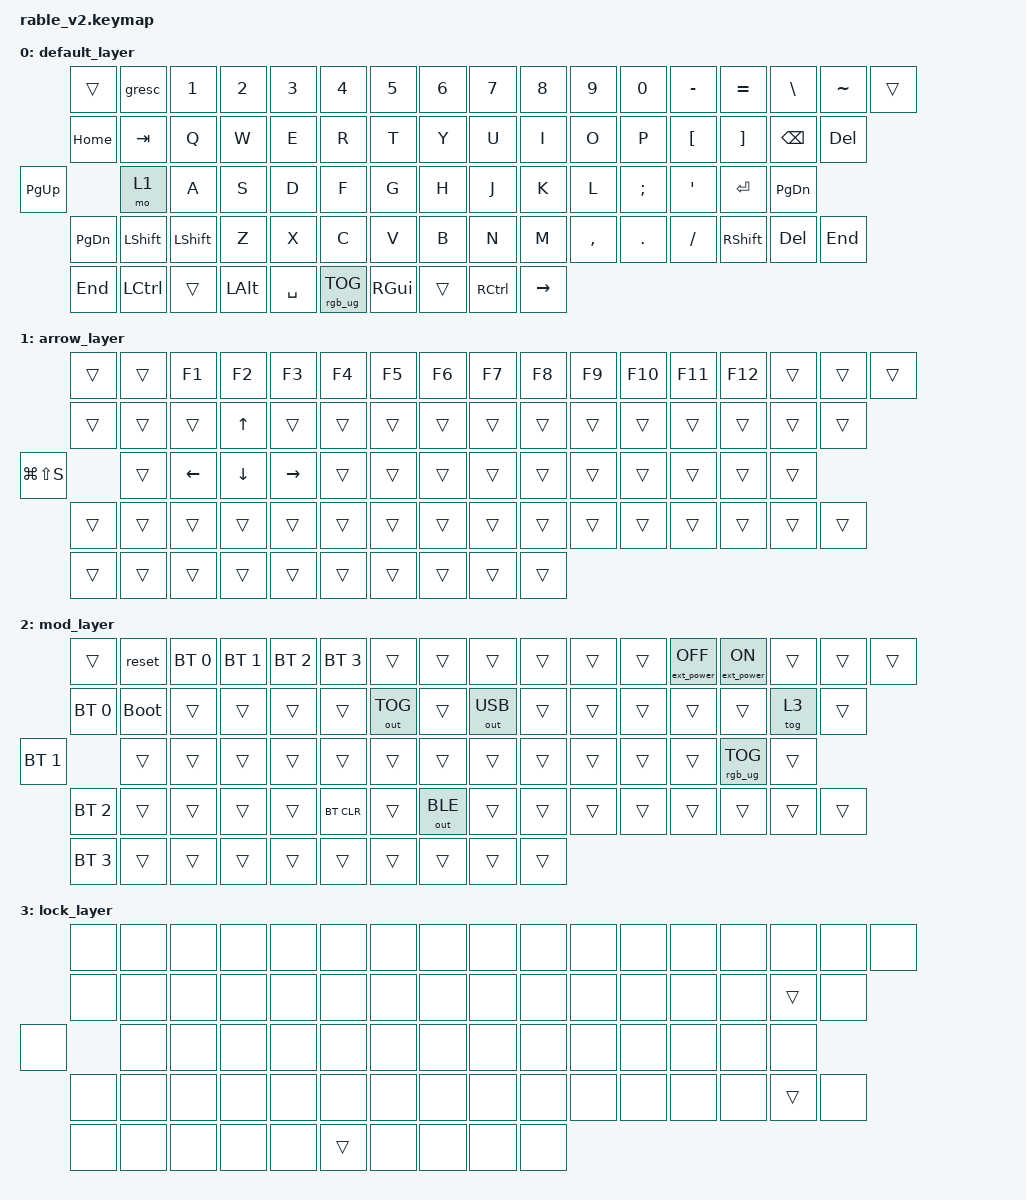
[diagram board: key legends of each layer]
/*
 * Copyright (c) 2021 Nick Winans
 *
 * SPDX-License-Identifier: MIT
 */

#include <behaviors.dtsi>
#include <dt-bindings/zmk/keys.h>
#include <dt-bindings/zmk/rgb.h>
#include <dt-bindings/zmk/bt.h>
#include <dt-bindings/zmk/ext_power.h>
#include <dt-bindings/zmk/outputs.h>

/ {
    keymap {
        compatible = "zmk,keymap";

        default_layer {
            bindings = <
       &trans     &gresc     &kp N1    &kp N2     &kp N3           &kp N4         &kp N5  &kp N6     &kp N7     &kp N8     &kp N9    &kp N0  &kp MINUS  &kp EQUAL  &kp BACKSLASH   &kp TILDE  &trans
     &kp HOME    &kp TAB      &kp Q     &kp W      &kp E            &kp R          &kp T   &kp Y      &kp U      &kp I      &kp O     &kp P   &kp LBKT   &kp RBKT  &kp BACKSPACE  &kp DELETE
  &kp PAGE_UP      &mo 1      &kp A     &kp S      &kp D            &kp F          &kp G   &kp H      &kp J      &kp K      &kp L  &kp SEMI    &kp SQT    &kp RET      &kp PG_DN
&kp PAGE_DOWN  &kp LSHFT  &kp LSHFT     &kp Z      &kp X            &kp C          &kp V   &kp B      &kp N      &kp M  &kp COMMA   &kp DOT   &kp FSLH  &kp RSHFT     &kp DELETE     &kp END
      &kp END  &kp LCTRL     &trans  &kp LALT  &kp SPACE  &rgb_ug RGB_TOG  &kp RIGHT_GUI  &trans  &kp RCTRL  &kp RIGHT
            >;
        };

        arrow_layer {
            bindings = <
       &trans  &trans    &kp F1    &kp F2     &kp F3  &kp F4  &kp F5  &kp F6  &kp F7  &kp F8  &kp F9  &kp F10  &kp F11  &kp F12  &trans  &trans  &trans
       &trans  &trans    &trans    &kp UP     &trans  &trans  &trans  &trans  &trans  &trans  &trans   &trans   &trans   &trans  &trans  &trans
&kp LG(LS(S))  &trans  &kp LEFT  &kp DOWN  &kp RIGHT  &trans  &trans  &trans  &trans  &trans  &trans   &trans   &trans   &trans  &trans
       &trans  &trans    &trans    &trans     &trans  &trans  &trans  &trans  &trans  &trans  &trans   &trans   &trans   &trans  &trans  &trans
       &trans  &trans    &trans    &trans     &trans  &trans  &trans  &trans  &trans  &trans
            >;
        };

        mod_layer {
            bindings = <
      &trans       &reset  &bt BT_SEL 0  &bt BT_SEL 1  &bt BT_SEL 2  &bt BT_SEL 3        &trans        &trans        &trans  &trans  &trans  &trans  &ext_power EP_OFF  &ext_power EP_ON  &trans  &trans  &trans
&bt BT_SEL 0  &bootloader        &trans        &trans        &trans        &trans  &out OUT_TOG        &trans  &out OUT_USB  &trans  &trans  &trans             &trans            &trans  &tog 3  &trans
&bt BT_SEL 1       &trans        &trans        &trans        &trans        &trans        &trans        &trans        &trans  &trans  &trans  &trans             &trans   &rgb_ug RGB_TOG  &trans
&bt BT_SEL 2       &trans        &trans        &trans        &trans    &bt BT_CLR        &trans  &out OUT_BLE        &trans  &trans  &trans  &trans             &trans            &trans  &trans  &trans
&bt BT_SEL 3       &trans        &trans        &trans        &trans        &trans        &trans        &trans        &trans  &trans
            >;
        };

        lock_layer {
            bindings = <
&none  &none  &none  &none  &none   &none  &none  &none  &none  &none  &none  &none  &none  &none   &none  &none  &none
&none  &none  &none  &none  &none   &none  &none  &none  &none  &none  &none  &none  &none  &none  &trans  &none
&none  &none  &none  &none  &none   &none  &none  &none  &none  &none  &none  &none  &none  &none   &none
&none  &none  &none  &none  &none   &none  &none  &none  &none  &none  &none  &none  &none  &none  &trans  &none
&none  &none  &none  &none  &none  &trans  &none  &none  &none  &none
            >;
        };
    };
};
